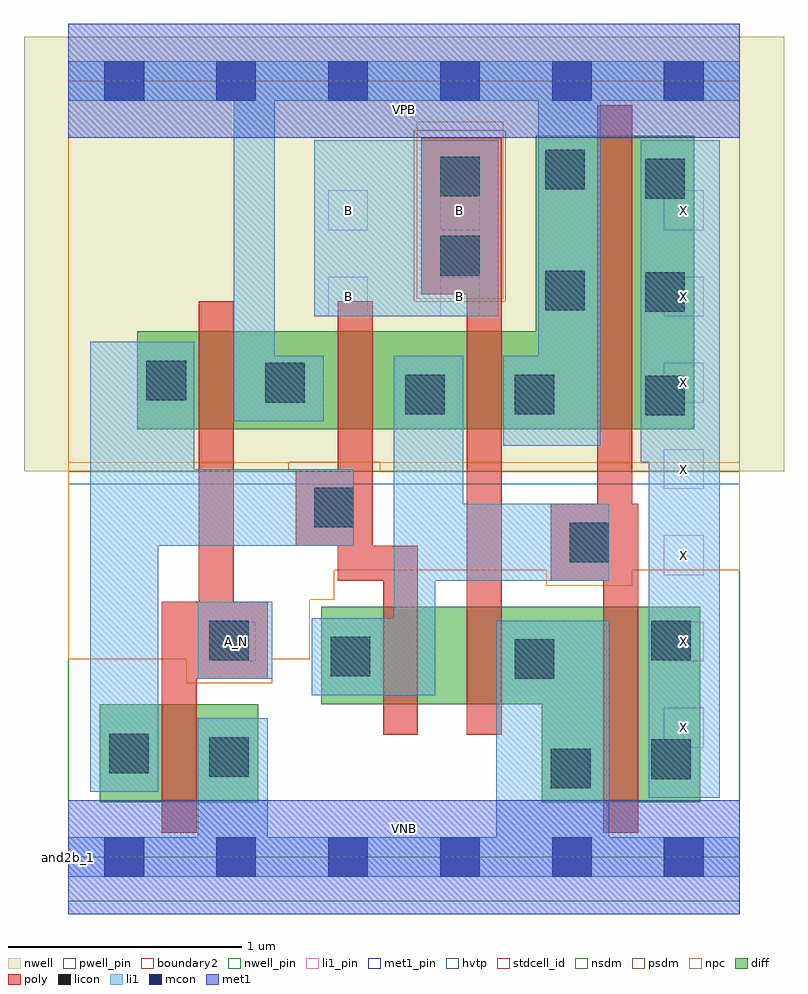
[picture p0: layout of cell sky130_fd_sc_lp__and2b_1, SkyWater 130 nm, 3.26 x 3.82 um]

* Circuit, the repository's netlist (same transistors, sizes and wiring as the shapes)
* Copyright 2020 The SkyWater PDK Authors
*
* Licensed under the Apache License, Version 2.0 (the "License");
* you may not use this file except in compliance with the License.
* You may obtain a copy of the License at
*
*     https://www.apache.org/licenses/LICENSE-2.0
*
* Unless required by applicable law or agreed to in writing, software
* distributed under the License is distributed on an "AS IS" BASIS,
* WITHOUT WARRANTIES OR CONDITIONS OF ANY KIND, either express or implied.
* See the License for the specific language governing permissions and
* limitations under the License.
*
* SPDX-License-Identifier: Apache-2.0

.SUBCKT sky130_fd_sc_lp__and2b_1 A_N B VGND VNB VPB VPWR X
*.PININFO A_N:I B:I VGND:I VNB:I VPB:I VPWR:I X:O
MMP0 y A VPWR VPB sky130_fd_pr__pfet_01v8_hvt m=1 w=0.42U l=0.15U mult=1 sa=0.265
+ sb=0.265 sd=0.28 area=0.063 perim=1.14
MMP1 y B VPWR VPB sky130_fd_pr__pfet_01v8_hvt m=1 w=0.42U l=0.15U mult=1 sa=0.265
+ sb=0.265 sd=0.28 area=0.063 perim=1.14
MMIP0 A A_N VPWR VPB sky130_fd_pr__pfet_01v8_hvt m=1 w=0.42U l=0.15U mult=1 sa=0.265
+ sb=0.265 sd=0.28 area=0.063 perim=1.14
MMIP1 X y VPWR VPB sky130_fd_pr__pfet_01v8_hvt m=1 w=1.26U l=0.15U mult=1 sa=0.265
+ sb=0.265 sd=0.28 area=0.063 perim=1.14
MMN0 y A sndA VNB sky130_fd_pr__nfet_01v8 m=1 w=0.42U l=0.15U mult=1 sa=0.265 sb=0.265
+ sd=0.28 area=0.063 perim=1.14
MMN1 sndA B VGND VNB sky130_fd_pr__nfet_01v8 m=1 w=0.42U l=0.15U mult=1 sa=0.265
+ sb=0.265 sd=0.28 area=0.063 perim=1.14
MMIN0 A A_N VGND VNB sky130_fd_pr__nfet_01v8 m=1 w=0.42U l=0.15U mult=1 sa=0.265
+ sb=0.265 sd=0.28 area=0.063 perim=1.14
MMIN1 X y VGND VNB sky130_fd_pr__nfet_01v8 m=1 w=0.84U l=0.15U mult=1 sa=0.265
+ sb=0.265 sd=0.28 area=0.063 perim=1.14
.ENDS sky130_fd_sc_lp__and2b_1

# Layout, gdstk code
import gdstk
lib = gdstk.Library(unit=1e-6, precision=1e-09)
def R(c, l, rs):  # rectangles x0, y0, x1, y1
    for r in rs: c.add(gdstk.rectangle(r[:2], r[2:], *l))
def A(c, l, x, y, w, h, nx, ny, dx, dy):  # array of equal rectangles
    R(c, l, [(x+i*dx, y+j*dy, x+i*dx+w, y+j*dy+h) for i in range(nx) for j in range(ny)])
def P(c, l, *ps):  # polygons
    for p in ps: c.add(gdstk.Polygon(p, *l))
nwell_pin = (64, 16)
nwell = (64, 20)
diff = (65, 20)
poly = (66, 20)
licon = (66, 44)
li1_pin = (67, 16)
li1 = (67, 20)
mcon = (67, 44)
met1_pin = (68, 16)
met1 = (68, 20)
hvtp = (78, 44)
stdcell_id = (81, 4)
nsdm = (93, 44)
psdm = (94, 20)
npc = (95, 20)
pwell_pin = (122, 16)
boundary2 = (236, 0)

sky130_fd_sc_lp__and2b_1 = lib.new_cell('sky130_fd_sc_lp__and2b_1')
R(sky130_fd_sc_lp__and2b_1, nwell_pin, [(0,3.085,2.88,3.33)])
R(sky130_fd_sc_lp__and2b_1, nwell, [(-0.19,1.655,3.07,3.52)])
R(sky130_fd_sc_lp__and2b_1, diff, [(0.135,0.235,0.815,0.655)])
P(sky130_fd_sc_lp__and2b_1, diff, [(2.685,3.095),(2.005,3.095),(2.005,2.255),(0.295,2.255),(0.295,1.835),(2.685,1.835)],
  [(2.71,1.075),(1.085,1.075),(1.085,0.655),(2.03,0.655),(2.03,0.235),(2.71,0.235)])
P(sky130_fd_sc_lp__and2b_1, poly, [(0.855,1.095),(0.71,1.095),(0.71,2.385),(0.56,2.385),(0.56,1.095),(0.4,1.095),(0.4,0.105),(0.55,0.105),(0.55,0.765),(0.855,0.765)],
  [(1.5,1.335),(1.305,1.335),(1.305,2.385),(1.155,2.385),(1.155,1.665),(0.975,1.665),(0.975,1.335),(1.155,1.335),(1.155,1.185),(1.35,1.185),(1.35,0.525),(1.5,0.525)],
  [(1.86,3.085),(1.515,3.085),(1.515,2.415),(1.71,2.415),(1.71,0.525),(1.86,0.525)],
  [(2.445,1.515),(2.42,1.515),(2.42,3.225),(2.27,3.225),(2.27,1.515),(2.07,1.515),(2.07,1.185),(2.295,1.185),(2.295,0.105),(2.445,0.105)])
R(sky130_fd_sc_lp__and2b_1, licon, [(2.07,0.295,2.24,0.465), (2.5,0.335,2.67,0.505), (0.605,0.345,0.775,0.515), (0.175,0.36,0.345,0.53), (1.915,0.765,2.085,0.935), (1.125,0.775,1.295,0.945), (0.605,0.845,0.775,1.015), (2.5,0.845,2.67,1.015), (2.15,1.265,2.32,1.435), (1.055,1.415,1.225,1.585), (2.475,1.895,2.645,2.065), (1.445,1.9,1.615,2.07), (1.915,1.9,2.085,2.07), (0.845,1.95,1.015,2.12), (0.335,1.96,0.505,2.13), (2.475,2.34,2.645,2.51), (2.045,2.345,2.215,2.515), (1.595,2.495,1.765,2.665), (2.475,2.825,2.645,2.995), (1.595,2.835,1.765,3.005), (2.045,2.865,2.215,3.035)])
A(sky130_fd_sc_lp__and2b_1, li1_pin, 2.555, 0.47, 0.17, 0.17, 1, 7, 0, 0.37)
R(sky130_fd_sc_lp__and2b_1, li1_pin, [(0.635,0.84,0.805,1.01), (1.115,2.32,1.285,2.49), (1.595,2.32,1.765,2.49), (1.115,2.69,1.285,2.86), (1.595,2.69,1.765,2.86)])
R(sky130_fd_sc_lp__and2b_1, li1, [(0.555,0.765,0.875,1.095), (1.055,2.32,1.845,3.075)])
P(sky130_fd_sc_lp__and2b_1, li1, [(1.835,0.085),(1.835,1.015),(2.32,1.015),(2.32,0.085),(2.88,0.085),(2.88,-0.085),(0,-0.085),(0,0.085),(0.555,0.085),(0.555,0.595),(0.855,0.595),(0.855,0.085)],
  [(0.54,1.665),(1.225,1.665),(1.225,1.335),(0.385,1.335),(0.385,0.28),(0.095,0.28),(0.095,2.21),(0.54,2.21)],
  [(2.455,1.695),(2.455,3.075),(2.795,3.075),(2.795,0.255),(2.49,0.255),(2.49,1.695)],
  [(1.695,1.515),(2.32,1.515),(2.32,1.185),(1.575,1.185),(1.575,0.695),(1.045,0.695),(1.045,1.025),(1.395,1.025),(1.395,2.15),(1.695,2.15)],
  [(2.88,3.415),(0,3.415),(0,3.245),(0.71,3.245),(0.71,1.87),(1.095,1.87),(1.095,2.15),(0.885,2.15),(0.885,3.245),(2.015,3.245),(2.015,2.15),(1.865,2.15),(1.865,1.765),(2.285,1.765),(2.285,3.245),(2.88,3.245)])
A(sky130_fd_sc_lp__and2b_1, mcon, 0.155, -0.085, 0.17, 0.17, 6, 2, 0.48, 3.33)
R(sky130_fd_sc_lp__and2b_1, met1_pin, [(0,0,2.88,0.245), (0,3.085,2.88,3.33)])
R(sky130_fd_sc_lp__and2b_1, met1, [(0,-0.245,2.88,0.245), (0,3.085,2.88,3.575)])
R(sky130_fd_sc_lp__and2b_1, hvtp, [(0,1.6,2.88,3.33)])
R(sky130_fd_sc_lp__and2b_1, stdcell_id, [(0,0,2.88,3.33)])
R(sky130_fd_sc_lp__and2b_1, nsdm, [(0,-0.19,2.88,1.655)])
P(sky130_fd_sc_lp__and2b_1, psdm, [(2.88,3.52),(1.875,3.52),(1.875,2.385),(1.485,2.385),(1.485,3.115),(1.875,3.115),(1.875,3.52),(0,3.52),(0,1.655),(0.945,1.655),(0.945,1.695),(1.335,1.695),(1.335,1.655),(2.88,1.655)])
R(sky130_fd_sc_lp__and2b_1, npc, [(1.495,2.395,1.865,3.155)])
P(sky130_fd_sc_lp__and2b_1, npc, [(2.88,1.695),(0,1.695),(0,0.85),(0.505,0.85),(0.505,0.745),(0.875,0.745),(0.875,0.85),(1.035,0.85),(1.035,1.105),(1.14,1.105),(1.14,1.23),(2.05,1.23),(2.05,1.165),(2.42,1.165),(2.42,1.23),(2.88,1.23)])
R(sky130_fd_sc_lp__and2b_1, pwell_pin, [(0,0,2.88,0.245)])
R(sky130_fd_sc_lp__and2b_1, boundary2, [(0,0,2.88,3.33)])
sky130_fd_sc_lp__and2b_1.add(gdstk.Label('VNB', (1.44,0.123), layer=64, texttype=59))
sky130_fd_sc_lp__and2b_1.add(gdstk.Label('VPB', (1.44,3.208), layer=64, texttype=5))
sky130_fd_sc_lp__and2b_1.add(gdstk.Label('and2b_1', (0,0), layer=83, texttype=44))
sky130_fd_sc_lp__and2b_1.add(gdstk.Label('VPWR', (1.44,3.208), layer=68, texttype=5))
sky130_fd_sc_lp__and2b_1.add(gdstk.Label('VGND', (1.44,0.123), layer=68, texttype=5))
sky130_fd_sc_lp__and2b_1.add(gdstk.Label('X', (2.64,0.555), layer=67, texttype=5))
sky130_fd_sc_lp__and2b_1.add(gdstk.Label('X', (2.64,0.925), layer=67, texttype=5))
sky130_fd_sc_lp__and2b_1.add(gdstk.Label('X', (2.64,1.295), layer=67, texttype=5))
sky130_fd_sc_lp__and2b_1.add(gdstk.Label('X', (2.64,1.665), layer=67, texttype=5))
sky130_fd_sc_lp__and2b_1.add(gdstk.Label('X', (2.64,2.035), layer=67, texttype=5))
sky130_fd_sc_lp__and2b_1.add(gdstk.Label('X', (2.64,2.405), layer=67, texttype=5))
sky130_fd_sc_lp__and2b_1.add(gdstk.Label('X', (2.64,2.775), layer=67, texttype=5))
sky130_fd_sc_lp__and2b_1.add(gdstk.Label('B', (1.2,2.405), layer=67, texttype=5))
sky130_fd_sc_lp__and2b_1.add(gdstk.Label('B', (1.2,2.775), layer=67, texttype=5))
sky130_fd_sc_lp__and2b_1.add(gdstk.Label('B', (1.68,2.405), layer=67, texttype=5))
sky130_fd_sc_lp__and2b_1.add(gdstk.Label('B', (1.68,2.775), layer=67, texttype=5))
sky130_fd_sc_lp__and2b_1.add(gdstk.Label('A_N', (0.72,0.925), layer=67, texttype=5))

lib.write_gds('sky130_fd_sc_lp__and2b_1.gds')
